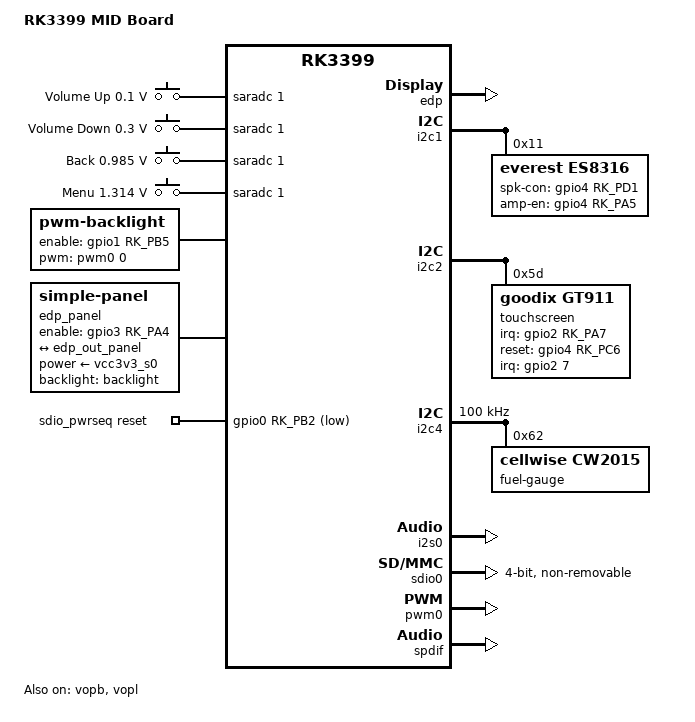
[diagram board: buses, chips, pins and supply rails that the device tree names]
// SPDX-License-Identifier: (GPL-2.0+ OR MIT)
/*
 * RK3399 MID Board (rockchip,rk3399-mid)
 *
 * 血统：Rockchip Sapphire + Excavator 参考设计定制版
 *   - 基础 = mainline rk3399-sapphire.dtsi（SoC 层 + PMIC + GMAC + eMMC/SD 全复用）
 *   - 本板 delta = eDP 1920x1080 屏 + Goodix GT9xx 触摸 + ES8316 音频 + CW2015 电池
 *
 * 依据：vendor DTB（resource.img 抽出，rk3399-mid-stock.dtb）逐项反编译比对
 * 生成：2026-11-10
 *
 * ⚠️ 待实测校准项（首次启动后需验证）：
 *   1. 触摸坐标范围（vendor 报 max-x=1536 / max-y=2048，需确认旋转方向）
 *   2. adc-keys 电压阈值（vendor 用 rockchip,adc_value 原始值，此处暂用 excavator 值）
 *   3. GMAC tx/rx delay（vendor 45/34，sapphire 默认 40/17，先按 vendor）
 */

/dts-v1/;

#include <dt-bindings/gpio/gpio.h>
#include <dt-bindings/interrupt-controller/irq.h>
#include <dt-bindings/input/linux-event-codes.h>
#include <dt-bindings/pinctrl/rockchip.h>
#include "rk3399-sapphire.dtsi"

/ {
	model = "RK3399 MID Board";
	compatible = "rockchip,rk3399-mid", "rockchip,rk3399";

	aliases {
		mmc2 = &sdio0;
	};

	/*
	 * 按键：本板用 rockchip,key（adc）驱动。
	 * mainline 对应 adc-keys，阈值暂用 excavator 官方值，待实测校准。
	 */
	adc-keys {
		compatible = "adc-keys";
		io-channels = <&saradc 1>;
		io-channel-names = "buttons";
		keyup-threshold-microvolt = <1800000>;
		poll-interval = <100>;

		button-up {
			label = "Volume Up";
			linux,code = <KEY_VOLUMEUP>;
			press-threshold-microvolt = <100000>;
		};

		button-down {
			label = "Volume Down";
			linux,code = <KEY_VOLUMEDOWN>;
			press-threshold-microvolt = <300000>;
		};

		button-back {
			label = "Back";
			linux,code = <KEY_BACK>;
			press-threshold-microvolt = <985000>;
		};

		button-menu {
			label = "Menu";
			linux,code = <KEY_MENU>;
			press-threshold-microvolt = <1314000>;
		};
	};

	/*
	 * 背光：vendor  pwms=<&pwm0 0 25000 0>  enable-gpios=<&gpio1 RK_PB5 ACTIVE_HIGH>
	 * 与 excavator 完全一致。
	 */
	backlight: backlight {
		compatible = "pwm-backlight";
		brightness-levels = <
			  0   1   2   3   4   5   6   7
			  8   9  10  11  12  13  14  15
			 16  17  18  19  20  21  22  23
			 24  25  26  27  28  29  30  31
			 32  33  34  35  36  37  38  39
			 40  41  42  43  44  45  46  47
			 48  49  50  51  52  53  54  55
			 56  57  58  59  60  61  62  63
			 64  65  66  67  68  69  70  71
			 72  73  74  75  76  77  78  79
			 80  81  82  83  84  85  86  87
			 88  89  90  91  92  93  94  95
			 96  97  98  99 100 101 102 103
			104 105 106 107 108 109 110 111
			112 113 114 115 116 117 118 119
			120 121 122 123 124 125 126 127
			128 129 130 131 132 133 134 135
			136 137 138 139 140 141 142 143
			144 145 146 147 148 149 150 151
			152 153 154 155 156 157 158 159
			160 161 162 163 164 165 166 167
			168 169 170 171 172 173 174 175
			176 177 178 179 180 181 182 183
			184 185 186 187 188 189 190 191
			192 193 194 195 196 197 198 199
			200 201 202 203 204 205 206 207
			208 209 210 211 212 213 214 215
			216 217 218 219 220 221 222 223
			224 225 226 227 228 229 230 231
			232 233 234 235 236 237 238 239
			240 241 242 243 244 245 246 247
			248 249 250 251 252 253 254 255>;
		default-brightness-level = <200>;
		enable-gpios = <&gpio1 RK_PB5 GPIO_ACTIVE_HIGH>;
		pwms = <&pwm0 0 25000 0>;
		status = "okay";
	};

	/*
	 * eDP 面板：
	 *   vendor  display-timings timing0（1920x1080@60Hz）
	 *     clock=138500000, hactive=1920, hfp=120, hbp=32, hsync=8
	 *     vactive=1080, vfp=23, vbp=6, vsync=2
	 *   全部极性 active-low（vendor 值 0x00）
	 *   复位脚：vendor lcd_rst = gpio3 RK_PA4
	 *   power-supply：暂用 vcc3v3_s0（与 excavator 一致）
	 */
	edp_panel: edp-panel {
		compatible = "simple-panel";
		backlight = <&backlight>;
		power-supply = <&vcc3v3_s0>;
		enable-gpios = <&gpio3 RK_PA4 GPIO_ACTIVE_HIGH>;
		pinctrl-names = "default";
		pinctrl-0 = <&lcd_panel_reset>;

		display-timings {
			native-mode = <&panel_timing>;

			panel_timing: timing0 {
				clock-frequency = <138500000>;
				hactive = <1920>;
				hfront-porch = <120>;
				hback-porch = <32>;
				hsync-len = <8>;
				vactive = <1080>;
				vfront-porch = <23>;
				vback-porch = <6>;
				vsync-len = <2>;
				hsync-active = <0>;
				vsync-active = <0>;
				de-active = <0>;
				pixelclk-active = <0>;
			};
		};

		port {
			panel_in_edp: endpoint {
				remote-endpoint = <&edp_out_panel>;
			};
		};
	};

	/*
	 * 音频：ES8316 @ i2c1 0x11（vendor 实测）
	 *   vendor 还有 es7243@0x10 / es7243@0x12（麦克风阵列 ADC），mainline 无驱动，先不挂。
	 */
	es8316_sound: es8316-sound {
		compatible = "simple-audio-card";
		simple-audio-card,name = "rockchip,es8316-codec";
		simple-audio-card,format = "i2s";
		simple-audio-card,mclk-fs = <256>;
		simple-audio-card,widgets =
			"Microphone", "Mic Jack",
			"Headphone", "Headphone Jack",
			"Speaker", "Speaker";
		simple-audio-card,routing =
			"Mic Jack", "MICBIAS1",
			"IN1P", "Mic Jack",
			"Headphone Jack", "HPOL",
			"Headphone Jack", "HPOR",
			"Speaker", "SPKOL",
			"Speaker", "SPKOR";

		simple-audio-card,cpu {
			sound-dai = <&i2s0>;
		};

		simple-audio-card,codec {
			sound-dai = <&es8316>;
		};
	};

	/* SDIO WiFi 电源序列（vendor reset-gpios = gpio0 RK_PB2 ACTIVE_LOW） */
	sdio_pwrseq: sdio-pwrseq {
		compatible = "mmc-pwrseq-simple";
		clocks = <&rk808 1>;
		clock-names = "ext_clock";
		pinctrl-names = "default";
		pinctrl-0 = <&wifi_enable_h>;
		reset-gpios = <&gpio0 RK_PB2 GPIO_ACTIVE_LOW>;
	};
};

/* ---------------- eDP ---------------- */
&edp {
	pinctrl-names = "default";
	pinctrl-0 = <&edp_hpd>;
	status = "okay";
};

&edp_out {
	edp_out_panel: endpoint {
		remote-endpoint = <&panel_in_edp>;
	};
};

/* ---------------- I2C1：ES8316 音频 ---------------- */
&i2c1 {
	i2c-scl-rising-time-ns = <300>;
	i2c-scl-falling-time-ns = <15>;
	status = "okay";

	es8316: es8316@11 {
		compatible = "everest,es8316";
		reg = <0x11>;
		clocks = <&cru SCLK_I2S_8CH_OUT>;
		clock-names = "mclk";
		#sound-dai-cells = <0>;
		spk-con-gpio = <&gpio4 RK_PD1 GPIO_ACTIVE_HIGH>;
		amp-en-gpio = <&gpio4 RK_PA5 GPIO_ACTIVE_HIGH>;
	};
};

/* ---------------- I2C2：Goodix GT9xx 触摸 ---------------- */
&i2c2 {
	i2c-scl-rising-time-ns = <150>;
	i2c-scl-falling-time-ns = <20>;
	status = "okay";

	touchscreen@5d {
		compatible = "goodix,gt911";
		reg = <0x5d>;
		interrupt-parent = <&gpio2>;
		interrupts = <7 IRQ_TYPE_EDGE_FALLING>;
		irq-gpios = <&gpio2 RK_PA7 GPIO_ACTIVE_HIGH>;
		reset-gpios = <&gpio4 RK_PC6 GPIO_ACTIVE_HIGH>;
		pinctrl-names = "default";
		pinctrl-0 = <&touch_int &lcd_panel_reset>;
		touchscreen-size-x = <1920>;
		touchscreen-size-y = <1080>;
		status = "okay";
	};
};

/* ---------------- I2C4：CW2015 电量计 + 充电检测 ---------------- */
&i2c4 {
	i2c-scl-rising-time-ns = <345>;
	i2c-scl-falling-time-ns = <11>;
	clock-frequency = <100000>;
	status = "okay";

	fuel-gauge@62 {
		compatible = "cellwise,cw2015";
		reg = <0x62>;
		cellwise,battery-profile = /bits/ 8 <
			0x15 0x7e 0x67 0x59 0x3e 0x49 0x5b 0x63
			0x5a 0x4e 0x49 0x4a 0x50 0x5c 0x67 0x65
			0x56 0x49 0x44 0x42 0x41 0x42 0x46 0x4f
			0x58 0x60 0x0b 0x85 0x4b 0x76 0x8d 0xa1
			0xae 0xaf 0xb2 0xb8 0x36 0x0e 0x64 0x01
			0x01 0x3b 0x38 0x6b 0x73 0x9a 0x9b 0x0f
			0x26 0x70 0xa2 0xc3 0x80 0xbf 0x94 0xcb
			0x2f 0x7d 0x72 0xa5 0xb5 0xc1 0x58 0xc9>;
		cellwise,monitor-interval-ms = <2000>;
	};
};

/* ---------------- 音频 I2S ---------------- */
&i2s0 {
	rockchip,playback-channels = <8>;
	rockchip,capture-channels = <8>;
	status = "okay";
};

/* ---------------- 显示 ---------------- */
&vopb {
	status = "okay";
};

&vopb_mmu {
	status = "okay";
};

&vopl {
	status = "okay";
};

&vopl_mmu {
	status = "okay";
};

/* ---------------- pinctrl ---------------- */
&pinctrl {
	sdio-pwrseq {
		wifi_enable_h: wifi-enable-h {
			rockchip,pins = <0 RK_PB2 RK_FUNC_GPIO &pcfg_pull_none>;
		};
	};

	lcd-panel {
		lcd_panel_reset: lcd-panel-reset {
			rockchip,pins = <3 RK_PA4 RK_FUNC_GPIO &pcfg_pull_none>;
		};
	};

	touch {
		touch_int: touch-int {
			rockchip,pins = <2 RK_PA7 RK_FUNC_GPIO &pcfg_pull_up>;
		};
	};
};

/* ---------------- SDIO WiFi ---------------- */
&sdio0 {
	bus-width = <4>;
	cap-sd-highspeed;
	cap-sdio-irq;
	clock-frequency = <50000000>;
	keep-power-in-suspend;
	max-frequency = <50000000>;
	mmc-pwrseq = <&sdio_pwrseq>;
	non-removable;
	pinctrl-names = "default";
	pinctrl-0 = <&sdio0_bus4 &sdio0_cmd &sdio0_clk>;
	sd-uhs-sdr104;
	status = "okay";
};

/* ---------------- GMAC：vendor tx_delay=45 / rx_delay=34 ---------------- */
&gmac {
	tx_delay = <0x2d>;
	rx_delay = <0x22>;
};

/* ---------------- 关闭本板不存在的设备 ---------------- */
&pcie_phy {
	status = "disabled";
};

&pcie0 {
	status = "disabled";
};

/* 本板无 HDMI 输出（会议一体机，只有 eDP 内屏） */
&hdmi {
	status = "disabled";
};

&hdmi_sound {
	status = "disabled";
};

/* 背光 PWM 输出脚 */
&pwm0 {
	pinctrl-names = "default";
	pinctrl-0 = <&pwm0_pin>;
	status = "okay";
};

&spdif {
	status = "okay";
};
